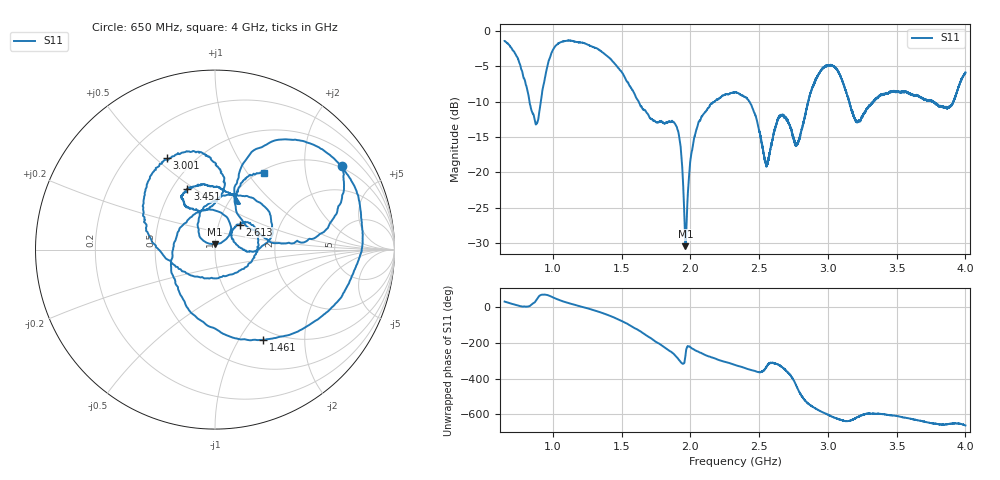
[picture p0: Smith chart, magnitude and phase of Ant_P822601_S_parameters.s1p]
# Hz S DB R 50
! CMT, PLANAR-804/1, 14065176, 3.47/03
! Date: 3/9/2023 2:41:44 PM
! Data: Format (Calibration Info)
! Freq  S11: dB/Ang (F1 Pxt)
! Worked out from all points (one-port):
!   8001 points, 650 MHz to 4 GHz, reference 50 ohm
!   lowest |S11| = -30.4 dB at 1.965 GHz (marker M1), VSWR 1.06, Z = 49.9 + j3 ohm
!   |S11| at or under -10 dB: 1.624 GHz to 2.178 GHz (553.5 MHz wide, 29.1 % of centre); 2.429 GHz to 2.858 GHz (428.1 MHz wide, 16.2 % of centre); 3.155 GHz to 3.33 GHz (175.2 MHz wide, 5.4 % of centre)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
!   S11 on the Smith chart (normalised r, x): 650 MHz: 0.94, +3.10; 1.461 GHz: 0.86, -1.28; 2.613 GHz: 1.26, +0.37; 3.001 GHz: 0.36, +0.55; 3.451 GHz: 0.60, +0.47; 4 GHz: 1.05, +1.20
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6.5e8  -1.43 33.1
7.932125e8  -6.78 5.9
8.740312e8  -13.12 34.2
9.108812e8  -10.34 69.0
9.904438e8  -3.15 61.0
1.06875e9  -1.54 35.9
1.248812e9  -1.90 -3.8
1.461119e9  -4.88 -61.8
1.4875e9  -5.53 -71.1
1.681381e9  -11.57 -157.4
1.90625e9  -13.93 77.0
1.964875e9  -30.44 90.0
2.009262e9  -17.20 131.3
2.057419e9  -13.10 112.1
2.325e9  -8.70 36.5
2.443506e9  -10.48 8.6
2.551544e9  -18.86 24.2
2.612681e9  -14.12 45.2
2.74375e9  -14.79 -39.3
2.784788e9  -15.83 -103.2
2.882775e9  -8.26 166.1
3.000862e9  -4.82 117.7
3.1625e9  -10.59 83.9
3.2228e9  -12.72 106.6
3.451438e9  -8.65 114.6
3.58125e9  -8.74 98.6
3.876469e9  -10.85 65.1
4e9  -5.90 57.4
